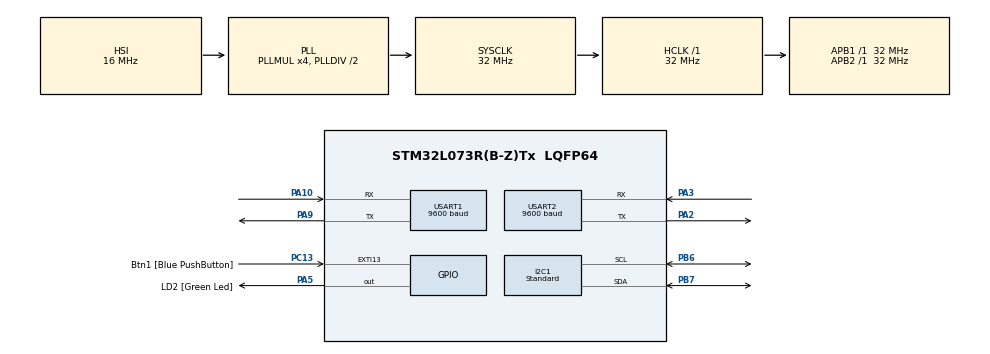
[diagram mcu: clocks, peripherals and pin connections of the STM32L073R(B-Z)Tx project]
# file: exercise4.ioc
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I2C1.I2C_Fall_Time=100
I2C1.I2C_Rise_Time=250
I2C1.I2C_Speed_Mode=I2C_Standard
I2C1.OwnAddress=0
I2C1.Timing=0x00F081AB
Mcu.Family=STM32L0
Mcu.Name=STM32L073R(B-Z)Tx
Mcu.Package=LQFP64
NVIC.EXTI4_15_IRQn=true\:0\:0\:false\:false\:true\:true
NVIC.I2C1_IRQn=true\:0\:0\:false\:false\:true\:true
NVIC.USART1_IRQn=true\:0\:0\:false\:false\:true\:true
NVIC.USART2_IRQn=true\:0\:0\:false\:false\:true\:true
PA10.Mode=Asynchronous
PA10.Signal=USART1_RX
PA13.Mode=Serial_Wire
PA13.Signal=SYS_SWDIO
PA14.Mode=Serial_Wire
PA14.Signal=SYS_SWCLK
PA2.Mode=Asynchronous
PA2.Signal=USART2_TX
PA3.Mode=Asynchronous
PA3.Signal=USART2_RX
PA5.GPIO_Label=LD2 [Green Led]
PA5.Signal=GPIO_Output
PA9.Mode=Asynchronous
PA9.Signal=USART1_TX
PB6.Mode=I2C
PB6.Signal=I2C1_SCL
PB7.Mode=I2C
PB7.Signal=I2C1_SDA
PC13.GPIO_Label=Btn1 [Blue PushButton]
PC13.Signal=GPXTI13
ProjectManager.HeapSize=0x200
ProjectManager.StackSize=0x400
ProjectManager.TargetToolchain=MDK-ARM V5
RCC.AHBFreq_Value=32000000
RCC.APB1Freq_Value=32000000
RCC.APB1TimFreq_Value=32000000
RCC.APB2Freq_Value=32000000
RCC.APB2TimFreq_Value=32000000
RCC.HCLKFreq_Value=32000000
RCC.HSE_VALUE=8000000
RCC.HSI16_VALUE=16000000
RCC.HSI48_VALUE=48000000
RCC.HSI_VALUE=16000000
RCC.LSE_VALUE=32768
RCC.MSI_VALUE=2097000
RCC.PLLMUL=RCC_PLLMUL_4
RCC.SYSCLKFreq_VALUE=32000000
RCC.SYSCLKSource=RCC_SYSCLKSOURCE_PLLCLK
RCC.VCOOutputFreq_Value=64000000
USART1.BaudRate=9600
USART1.VirtualMode-Asynchronous=VM_ASYNC
USART1.WordLength=WORDLENGTH_8B
USART2.BaudRate=9600
USART2.VirtualMode-Asynchronous=VM_ASYNC
USART2.WordLength=WORDLENGTH_8B
board=NUCLEO-L073RZ

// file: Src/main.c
/**
  ******************************************************************************
  * @file           : main.c
  * @brief          : Main program body
  ******************************************************************************
  ** This notice applies to any and all portions of this file
  * that are not between comment pairs USER CODE BEGIN and
  * USER CODE END. Other portions of this file, whether
  * inserted by the user or by software development tools
  * are owned by their respective copyright owners.
  *
  * COPYRIGHT(c) 2018 STMicroelectronics
  *
  * Redistribution and use in source and binary forms, with or without modification,
  * are permitted provided that the following conditions are met:
  *   1. Redistributions of source code must retain the above copyright notice,
  *      this list of conditions and the following disclaimer.
  *   2. Redistributions in binary form must reproduce the above copyright notice,
  *      this list of conditions and the following disclaimer in the documentation
  *      and/or other materials provided with the distribution.
  *   3. Neither the name of STMicroelectronics nor the names of its contributors
  *      may be used to endorse or promote products derived from this software
  *      without specific prior written permission.
  *
  * THIS SOFTWARE IS PROVIDED BY THE COPYRIGHT HOLDERS AND CONTRIBUTORS "AS IS"
  * AND ANY EXPRESS OR IMPLIED WARRANTIES, INCLUDING, BUT NOT LIMITED TO, THE
  * IMPLIED WARRANTIES OF MERCHANTABILITY AND FITNESS FOR A PARTICULAR PURPOSE ARE
  * DISCLAIMED. IN NO EVENT SHALL THE COPYRIGHT HOLDER OR CONTRIBUTORS BE LIABLE
  * FOR ANY DIRECT, INDIRECT, INCIDENTAL, SPECIAL, EXEMPLARY, OR CONSEQUENTIAL
  * DAMAGES (INCLUDING, BUT NOT LIMITED TO, PROCUREMENT OF SUBSTITUTE GOODS OR
  * SERVICES; LOSS OF USE, DATA, OR PROFITS; OR BUSINESS INTERRUPTION) HOWEVER
  * CAUSED AND ON ANY THEORY OF LIABILITY, WHETHER IN CONTRACT, STRICT LIABILITY,
  * OR TORT (INCLUDING NEGLIGENCE OR OTHERWISE) ARISING IN ANY WAY OUT OF THE USE
  * OF THIS SOFTWARE, EVEN IF ADVISED OF THE POSSIBILITY OF SUCH DAMAGE.
  *
  ******************************************************************************
  */
#include "main.h"
#include "stm32l0xx_hal.h"

/* USER CODE BEGIN Includes */
#include <stdio.h>
#include <string.h>
#include <stdbool.h>

#define DELAY_UART_TX			120			/* delay for write debug string*/

// PMIC
#define PMIC_ADDRESS       		0xD4

/* USER CODE END Includes */

I2C_HandleTypeDef hi2c1;

UART_HandleTypeDef huart1;
UART_HandleTypeDef huart2;

/* USER CODE BEGIN PV */
/* Private variables ---------------------------------------------------------*/

typedef enum {
	TRANSFER_TX_RESET = 0,
	TRANSFER_TX_WAIT,
	TRANSFER_TX_COMPLETE,
	TRANSFER_RX_RESET,
	TRANSFER_RX_WAIT,
	TRANSFER_RX_COMPLETE,
	TRANSFER_ERROR
} TransferStatus;

/**** GPIO *****/
static __IO ITStatus GPIO_Btn1_Pin_Pressed = RESET;               /* Set to 1 if GPIO Btn1_Pin pressed */
int LED_pattern = 0;

/**** UART *****/
uint8_t UART_txBuffer[UART_TXBUFFERSIZE];
uint8_t UART_rxBuffer[UART_RXBUFFERSIZE];

static __IO ITStatus UART_txCompleteDetected = RESET;       	/* Set to 1 if UART TX is completed */
static __IO TransferStatus UART_rxStatus = TRANSFER_RX_RESET;
static __IO ITStatus UART_transErrorDetected = RESET;       	/* Set to 1 if a UART error TX,RX is detected */

/**** PMIC *****/
uint8_t PMIC_Buffer[PMIC_BUFFERSIZE];

/* USER CODE END PV */

void SystemClock_Config(void);
static void MX_GPIO_Init(void);
static void MX_USART2_UART_Init(void);
static void MX_I2C1_Init(void);
static void MX_USART1_UART_Init(void);

/* USER CODE BEGIN PFP */
/* Private function prototypes -----------------------------------------------*/
static void uart_log(char *s);
static void uart_print(uint8_t* p_buf, uint16_t buf_len);
static void uart_check_cmd(void);

static void pmic_write(uint8_t buffer[], uint8_t length);
static void pmic_read(uint8_t reg, uint8_t num);

/* USER CODE END PFP */

int main(void)
{

  /* MCU Configuration----------------------------------------------------------*/

  /* Reset of all peripherals, Initializes the Flash interface and the Systick. */
  HAL_Init();

  /* Configure the system clock */
  SystemClock_Config();

  /* Initialize all configured peripherals */
  MX_GPIO_Init();
  MX_USART2_UART_Init();
  MX_I2C1_Init();
  MX_USART1_UART_Init();

  /* Infinite loop */
  /* USER CODE BEGIN WHILE */

  uart_log("Hello");

  while (1)
  {
	  uart_check_cmd();

	  if (GPIO_Btn1_Pin_Pressed == SET)
	  {
		  GPIO_Btn1_Pin_Pressed = RESET;
		  HAL_GPIO_TogglePin(LD2_GPIO_Port, LD2_Pin);
	  }

  /* USER CODE END WHILE */

  }

}

void SystemClock_Config(void)
{

  RCC_OscInitTypeDef RCC_OscInitStruct;
  RCC_ClkInitTypeDef RCC_ClkInitStruct;
  RCC_PeriphCLKInitTypeDef PeriphClkInit;

    /**Configure the main internal regulator output voltage
    */
  __HAL_PWR_VOLTAGESCALING_CONFIG(PWR_REGULATOR_VOLTAGE_SCALE1);

    /**Initializes the CPU, AHB and APB busses clocks
    */
  RCC_OscInitStruct.OscillatorType = RCC_OSCILLATORTYPE_HSI;
  RCC_OscInitStruct.HSIState = RCC_HSI_ON;
  RCC_OscInitStruct.HSICalibrationValue = 16;
  RCC_OscInitStruct.PLL.PLLState = RCC_PLL_ON;
  RCC_OscInitStruct.PLL.PLLSource = RCC_PLLSOURCE_HSI;
  RCC_OscInitStruct.PLL.PLLMUL = RCC_PLLMUL_4;
  RCC_OscInitStruct.PLL.PLLDIV = RCC_PLLDIV_2;
  if (HAL_RCC_OscConfig(&RCC_OscInitStruct) != HAL_OK)
  {
    _Error_Handler(__FILE__, __LINE__);
  }

    /**Initializes the CPU, AHB and APB busses clocks
    */
  RCC_ClkInitStruct.ClockType = RCC_CLOCKTYPE_HCLK|RCC_CLOCKTYPE_SYSCLK
                              |RCC_CLOCKTYPE_PCLK1|RCC_CLOCKTYPE_PCLK2;
  RCC_ClkInitStruct.SYSCLKSource = RCC_SYSCLKSOURCE_PLLCLK;
  RCC_ClkInitStruct.AHBCLKDivider = RCC_SYSCLK_DIV1;
  RCC_ClkInitStruct.APB1CLKDivider = RCC_HCLK_DIV1;
  RCC_ClkInitStruct.APB2CLKDivider = RCC_HCLK_DIV1;

  if (HAL_RCC_ClockConfig(&RCC_ClkInitStruct, FLASH_LATENCY_1) != HAL_OK)
  {
    _Error_Handler(__FILE__, __LINE__);
  }

  PeriphClkInit.PeriphClockSelection = RCC_PERIPHCLK_USART1|RCC_PERIPHCLK_USART2
                              |RCC_PERIPHCLK_I2C1;
  PeriphClkInit.Usart1ClockSelection = RCC_USART1CLKSOURCE_PCLK2;
  PeriphClkInit.Usart2ClockSelection = RCC_USART2CLKSOURCE_PCLK1;
  PeriphClkInit.I2c1ClockSelection = RCC_I2C1CLKSOURCE_PCLK1;
  if (HAL_RCCEx_PeriphCLKConfig(&PeriphClkInit) != HAL_OK)
  {
    _Error_Handler(__FILE__, __LINE__);
  }

    /**Configure the Systick interrupt time
    */
  HAL_SYSTICK_Config(HAL_RCC_GetHCLKFreq()/1000);

    /**Configure the Systick
    */
  HAL_SYSTICK_CLKSourceConfig(SYSTICK_CLKSOURCE_HCLK);

  /* SysTick_IRQn interrupt configuration */
  HAL_NVIC_SetPriority(SysTick_IRQn, 0, 0);
}

/* I2C1 init function */
static void MX_I2C1_Init(void)
{

  hi2c1.Instance = I2C1;
  hi2c1.Init.Timing = 0x00B0122A;
  hi2c1.Init.OwnAddress1 = 0;
  hi2c1.Init.AddressingMode = I2C_ADDRESSINGMODE_7BIT;
  hi2c1.Init.DualAddressMode = I2C_DUALADDRESS_DISABLE;
  hi2c1.Init.OwnAddress2 = 0;
  hi2c1.Init.OwnAddress2Masks = I2C_OA2_NOMASK;
  hi2c1.Init.GeneralCallMode = I2C_GENERALCALL_DISABLE;
  hi2c1.Init.NoStretchMode = I2C_NOSTRETCH_DISABLE;
  if (HAL_I2C_Init(&hi2c1) != HAL_OK)
  {
    _Error_Handler(__FILE__, __LINE__);
  }

    /**Configure Analogue filter
    */
  if (HAL_I2CEx_ConfigAnalogFilter(&hi2c1, I2C_ANALOGFILTER_ENABLE) != HAL_OK)
  {
    _Error_Handler(__FILE__, __LINE__);
  }

    /**Configure Digital filter
    */
  if (HAL_I2CEx_ConfigDigitalFilter(&hi2c1, 0) != HAL_OK)
  {
    _Error_Handler(__FILE__, __LINE__);
  }

}

/* USART1 init function */
static void MX_USART1_UART_Init(void)
{

  huart1.Instance = USART1;
  huart1.Init.BaudRate = 9600;
  huart1.Init.WordLength = UART_WORDLENGTH_8B;
  huart1.Init.StopBits = UART_STOPBITS_1;
  huart1.Init.Parity = UART_PARITY_NONE;
  huart1.Init.Mode = UART_MODE_TX_RX;
  huart1.Init.HwFlowCtl = UART_HWCONTROL_NONE;
  huart1.Init.OverSampling = UART_OVERSAMPLING_16;
  huart1.Init.OneBitSampling = UART_ONE_BIT_SAMPLE_DISABLE;
  huart1.AdvancedInit.AdvFeatureInit = UART_ADVFEATURE_NO_INIT;
  if (HAL_UART_Init(&huart1) != HAL_OK)
  {
    _Error_Handler(__FILE__, __LINE__);
  }

}

/* USART2 init function */
static void MX_USART2_UART_Init(void)
{

  huart2.Instance = USART2;
  huart2.Init.BaudRate = 9600;
  huart2.Init.WordLength = UART_WORDLENGTH_8B;
  huart2.Init.StopBits = UART_STOPBITS_1;
  huart2.Init.Parity = UART_PARITY_NONE;
  huart2.Init.Mode = UART_MODE_TX_RX;
  huart2.Init.HwFlowCtl = UART_HWCONTROL_NONE;
  huart2.Init.OverSampling = UART_OVERSAMPLING_16;
  huart2.Init.OneBitSampling = UART_ONE_BIT_SAMPLE_DISABLE;
  huart2.AdvancedInit.AdvFeatureInit = UART_ADVFEATURE_NO_INIT;
  if (HAL_UART_Init(&huart2) != HAL_OK)
  {
    _Error_Handler(__FILE__, __LINE__);
  }

}

/** Configure pins as
        * Analog
        * Input
        * Output
        * EVENT_OUT
        * EXTI
        * Free pins are configured automatically as Analog (this feature is enabled through
        * the Code Generation settings)
*/
static void MX_GPIO_Init(void)
{

  GPIO_InitTypeDef GPIO_InitStruct;

  /* GPIO Ports Clock Enable */
  __HAL_RCC_GPIOC_CLK_ENABLE();
  __HAL_RCC_GPIOH_CLK_ENABLE();
  __HAL_RCC_GPIOA_CLK_ENABLE();
  __HAL_RCC_GPIOB_CLK_ENABLE();
  __HAL_RCC_GPIOD_CLK_ENABLE();

  /*Configure GPIO pin Output Level */
  HAL_GPIO_WritePin(LD2_GPIO_Port, LD2_Pin, GPIO_PIN_RESET);

  /*Configure GPIO pin : Btn1_Pin */
  GPIO_InitStruct.Pin = Btn1_Pin;
  GPIO_InitStruct.Mode = GPIO_MODE_IT_RISING;
  GPIO_InitStruct.Pull = GPIO_NOPULL;
  HAL_GPIO_Init(Btn1_GPIO_Port, &GPIO_InitStruct);

  /*Configure GPIO pins : PC14 PC15 PC0 PC1
                           PC2 PC3 PC4 PC5
                           PC6 PC7 PC8 PC9
                           PC10 PC11 PC12 */
  GPIO_InitStruct.Pin = GPIO_PIN_14|GPIO_PIN_15|GPIO_PIN_0|GPIO_PIN_1
                          |GPIO_PIN_2|GPIO_PIN_3|GPIO_PIN_4|GPIO_PIN_5
                          |GPIO_PIN_6|GPIO_PIN_7|GPIO_PIN_8|GPIO_PIN_9
                          |GPIO_PIN_10|GPIO_PIN_11|GPIO_PIN_12;
  GPIO_InitStruct.Mode = GPIO_MODE_ANALOG;
  GPIO_InitStruct.Pull = GPIO_NOPULL;
  HAL_GPIO_Init(GPIOC, &GPIO_InitStruct);

  /*Configure GPIO pins : PH0 PH1 */
  GPIO_InitStruct.Pin = GPIO_PIN_0|GPIO_PIN_1;
  GPIO_InitStruct.Mode = GPIO_MODE_ANALOG;
  GPIO_InitStruct.Pull = GPIO_NOPULL;
  HAL_GPIO_Init(GPIOH, &GPIO_InitStruct);

  /*Configure GPIO pins : PA0 PA1 PA4 PA6
                           PA7 PA8 PA11 PA12
                           PA15 */
  GPIO_InitStruct.Pin = GPIO_PIN_0|GPIO_PIN_1|GPIO_PIN_4|GPIO_PIN_6
                          |GPIO_PIN_7|GPIO_PIN_8|GPIO_PIN_11|GPIO_PIN_12
                          |GPIO_PIN_15;
  GPIO_InitStruct.Mode = GPIO_MODE_ANALOG;
  GPIO_InitStruct.Pull = GPIO_NOPULL;
  HAL_GPIO_Init(GPIOA, &GPIO_InitStruct);

  /*Configure GPIO pin : LD2_Pin */
  GPIO_InitStruct.Pin = LD2_Pin;
  GPIO_InitStruct.Mode = GPIO_MODE_OUTPUT_PP;
  GPIO_InitStruct.Pull = GPIO_NOPULL;
  GPIO_InitStruct.Speed = GPIO_SPEED_FREQ_LOW;
  HAL_GPIO_Init(LD2_GPIO_Port, &GPIO_InitStruct);

  /*Configure GPIO pins : PB0 PB1 PB2 PB10
                           PB11 PB12 PB13 PB14
                           PB15 PB3 PB4 PB5
                           PB8 PB9 */
  GPIO_InitStruct.Pin = GPIO_PIN_0|GPIO_PIN_1|GPIO_PIN_2|GPIO_PIN_10
                          |GPIO_PIN_11|GPIO_PIN_12|GPIO_PIN_13|GPIO_PIN_14
                          |GPIO_PIN_15|GPIO_PIN_3|GPIO_PIN_4|GPIO_PIN_5
                          |GPIO_PIN_8|GPIO_PIN_9;
  GPIO_InitStruct.Mode = GPIO_MODE_ANALOG;
  GPIO_InitStruct.Pull = GPIO_NOPULL;
  HAL_GPIO_Init(GPIOB, &GPIO_InitStruct);

  /*Configure GPIO pin : PD2 */
  GPIO_InitStruct.Pin = GPIO_PIN_2;
  GPIO_InitStruct.Mode = GPIO_MODE_ANALOG;
  GPIO_InitStruct.Pull = GPIO_NOPULL;
  HAL_GPIO_Init(GPIOD, &GPIO_InitStruct);

  /* EXTI interrupt init*/
  HAL_NVIC_SetPriority(EXTI4_15_IRQn, 0, 0);
  HAL_NVIC_EnableIRQ(EXTI4_15_IRQn);

}

/* USER CODE BEGIN 4 */

/**
  * @brief  EXTI line detection callbacks.
  * @param  GPIO_Pin: Specifies the pins connected to the EXTI line.
  * @retval None
  */
void HAL_GPIO_EXTI_Callback(uint16_t GPIO_Pin)
{
  GPIO_Btn1_Pin_Pressed = SET;
}

/********************************** UART **********************************/
/**
  * @brief Tx Transfer completed callback.
  * @param huart: UART handle.
  * @retval None
  */
void HAL_UART_TxCpltCallback(UART_HandleTypeDef *huart)
{
  UART_txCompleteDetected = SET;
}

/**
  * @brief Rx Transfer completed callback.
  * @param huart: UART handle.
  * @retval None
  */
void HAL_UART_RxCpltCallback(UART_HandleTypeDef *huart)
{
	UART_rxStatus = TRANSFER_RX_COMPLETE;
}

/**
  * @brief UART error callback.
  * @param huart: UART handle.
  * @retval None
  */
void HAL_UART_ErrorCallback(UART_HandleTypeDef *huart)
{
	UART_transErrorDetected = SET;
}

/**
  * @brief UART print.
  * @retval None
  */
static void uart_print(uint8_t* p_buf, uint16_t buf_len)
{
	if(HAL_UART_Transmit_IT(&huart2, (uint8_t*)p_buf, buf_len)!= HAL_OK)
	{
		Error_Handler();
	}
	/*## Wait for the end of the TX transfer ##*/
	while (UART_txCompleteDetected != SET)
	{
	}

	/* Reset transmission flag */
	UART_txCompleteDetected = RESET;
	HAL_Delay(DELAY_UART_TX);
}

/**
  * @brief UART log.
  * @retval None
  */
static void uart_log(char *str)
{
	strcpy((char*)UART_txBuffer, str);
	uart_print(UART_txBuffer, strlen((char*) UART_txBuffer));
}

static void uart_check_cmd(void) {
	if (UART_rxStatus == TRANSFER_RX_RESET)
	{
		//uart_log("UART prepare to receive");

		/*## Put UART peripheral in reception process  ##*/
		if(HAL_UART_Receive_IT(&huart2, (uint8_t*)UART_rxBuffer, UART_RXBUFFERSIZE) != HAL_OK)
		{
			Error_Handler();
			uart_log("UART receiveIT error");
		} else {
			UART_rxStatus = TRANSFER_RX_WAIT;
			//uart_log("UART ready to receive");
		}
	}

	if (UART_rxStatus == TRANSFER_RX_COMPLETE)
	{
		//uart_log("UART received");
		switch(UART_rxBuffer[2])
		{
			case 1: /* "i" init */
				uart_log("CMD i");
				break;
			case 11:
			{
				uint8_t buffer[] = {0x00, 0x04, 0x05, 0xB5, 0x36, 0x03, 0x00, 0x83, 0x8B, 0x03, 0x44, 0x90, 0x72, 0x80, 0x95, 0x00, 0x00, 0x00, 0x99, 0x00, 0x00, 0x39};
				pmic_write(buffer, 22);
				break;
			}
			case 12:
				pmic_read(0x00, 21);
				break;
			default:
				uart_log("Unknown CMD");
		} /* end switch*/
		UART_rxStatus = TRANSFER_RX_RESET;
	}

	HAL_Delay(10);
}

/********************************** I2C **********************************/
static void pmic_write(uint8_t buffer[], uint8_t length)
{
	HAL_GPIO_WritePin(LD2_GPIO_Port, LD2_Pin, GPIO_PIN_SET);
	do {
		while(HAL_I2C_Master_Transmit_IT(&hi2c1, (uint16_t)PMIC_ADDRESS, buffer, length)!= HAL_OK)
		{
			//HAL_GPIO_TogglePin(LD2_GPIO_Port, LD2_Pin);
			//HAL_Delay(3000);
		}
		while (HAL_I2C_GetState(&hi2c1) != HAL_I2C_STATE_READY)
		{
			//HAL_GPIO_TogglePin(LD2_GPIO_Port, LD2_Pin);
			//HAL_Delay(500);
		}
		//HAL_GPIO_TogglePin(LD2_GPIO_Port, LD2_Pin);
		//HAL_Delay(100);
	} while(HAL_I2C_GetError(&hi2c1) == HAL_I2C_ERROR_AF);

	HAL_GPIO_WritePin(LD2_GPIO_Port, LD2_Pin, GPIO_PIN_RESET);
}

static void pmic_read(uint8_t reg, uint8_t num)
{
	HAL_GPIO_WritePin(LD2_GPIO_Port, LD2_Pin, GPIO_PIN_SET);

	/* Select register */
	uart_log("Read reg: ");
	uart_print(&reg, 1);
	PMIC_Buffer[0] = reg;
	do {
		while(HAL_I2C_Master_Transmit_IT(&hi2c1, (uint16_t)PMIC_ADDRESS, (uint8_t*)PMIC_Buffer, PMIC_BUFFERSIZE)!= HAL_OK)
		{
			//HAL_GPIO_TogglePin(LD2_GPIO_Port, LD2_Pin);
			//HAL_Delay(10000);
		}
		while (HAL_I2C_GetState(&hi2c1) != HAL_I2C_STATE_READY)
		{
			//HAL_GPIO_TogglePin(LD2_GPIO_Port, LD2_Pin);
			//HAL_Delay(2000);
		}
		//HAL_GPIO_TogglePin(LD2_GPIO_Port, LD2_Pin);
		//HAL_Delay(100);
	} while(HAL_I2C_GetError(&hi2c1) == HAL_I2C_ERROR_AF);

	/*## Read Data ##*/
	//uart_log("M waiting for read data");
	for (uint8_t i = 0; i < num && reg + i <= 0x14; i++) {
		do {
			while (HAL_I2C_Master_Receive_IT(&hi2c1, (uint16_t)PMIC_ADDRESS, (uint8_t*)PMIC_Buffer, PMIC_BUFFERSIZE)!= HAL_OK)
			{
				//HAL_GPIO_TogglePin(LD2_GPIO_Port, LD2_Pin);
				//HAL_Delay(3000);
			}
			while (HAL_I2C_GetState(&hi2c1) != HAL_I2C_STATE_READY)
			{
				//HAL_GPIO_TogglePin(LD2_GPIO_Port, LD2_Pin);
				//HAL_Delay(500);
			}
			//HAL_GPIO_TogglePin(LD2_GPIO_Port, LD2_Pin);
			//HAL_Delay(100);
		} while(HAL_I2C_GetError(&hi2c1) == HAL_I2C_ERROR_AF);
		uart_print(PMIC_Buffer, PMIC_BUFFERSIZE);
	}

	HAL_GPIO_WritePin(LD2_GPIO_Port, LD2_Pin, GPIO_PIN_RESET);
}

/* USER CODE END 4 */

void _Error_Handler(char *file, int line)
{
  while(1)
  {
  }
}

/************************ (C) COPYRIGHT STMicroelectronics *****END OF FILE****/
